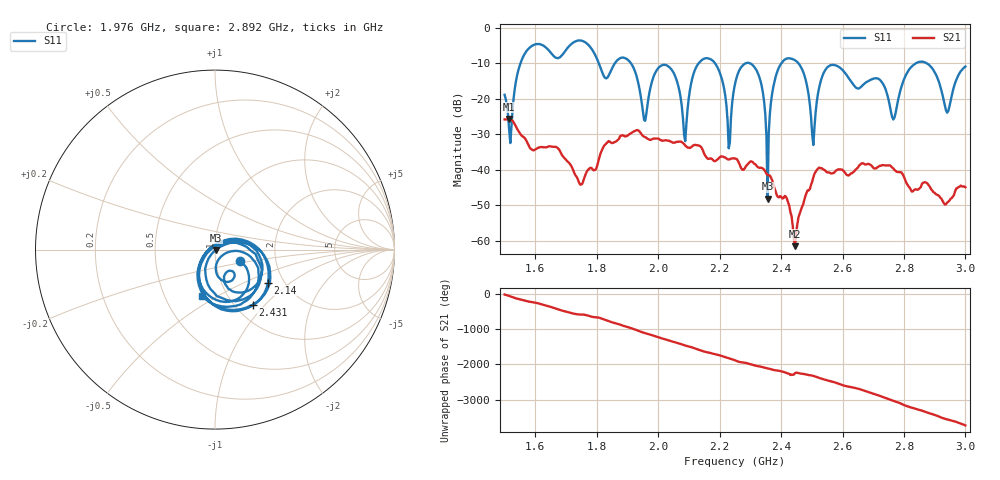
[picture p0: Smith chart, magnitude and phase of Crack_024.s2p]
# HZ S RI R 50
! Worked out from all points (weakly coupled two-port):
!   404 points, 1.5 GHz to 3 GHz, reference 50 ohm
!   highest |S21| = -25.60 dB at 1.515 GHz (marker M1); lowest = -61.5 dB at 2.445 GHz (marker M2)
!   lowest |S11| = -48.1 dB at 2.356 GHz (marker M3), VSWR 1.01, Z = 50.4 - j0.158 ohm
!   |S11| at or under -10 dB: 1.912 GHz to 2.131 GHz (219.6 MHz wide, 10.9 % of centre); 2.457 GHz to 2.838 GHz (381.2 MHz wide, 14.4 % of centre); 2.875 GHz to end of sweep (the widest 3 of 7)
!   S12 and S22 are empty: the file has one direction only
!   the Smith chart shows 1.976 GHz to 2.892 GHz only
!   S11 on the Smith chart (normalised r, x): 1.976 GHz: 1.32, -0.17; 2.14 GHz: 1.66, -0.69; 2.431 GHz: 1.20, -0.85; 2.892 GHz: 0.76, -0.43
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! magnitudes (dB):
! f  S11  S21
! 1.5 GHz  -18.8  -25.7
! 1.515 GHz  -28.7  -25.6
! 1.574 GHz  -6.1  -32.4
! 1.753 GHz  -3.6  -43.8
! 1.976 GHz  -16.2  -31.5
! 2.002 GHz  -11.1  -31.2
! 2.088 GHz  -31.9  -33.1
! 2.14 GHz  -9.2  -33.6
! 2.196 GHz  -11.6  -36.8
! 2.23 GHz  -33.9  -37.0
! 2.252 GHz  -15.0  -36.8
! 2.319 GHz  -11.7  -38.7
! 2.356 GHz  -48.1  -41.5
! 2.382 GHz  -13.8  -46.0
! 2.431 GHz  -8.6  -52.0
! 2.445 GHz  -9.1  -61.5
! 2.501 GHz  -29.8  -43.3
! 2.561 GHz  -10.5  -40.9
! 2.751 GHz  -20.5  -38.7
! 2.892 GHz  -11.4  -45.8
! 2.94 GHz  -23.9  -49.2
! 3 GHz  -10.9  -44.9
